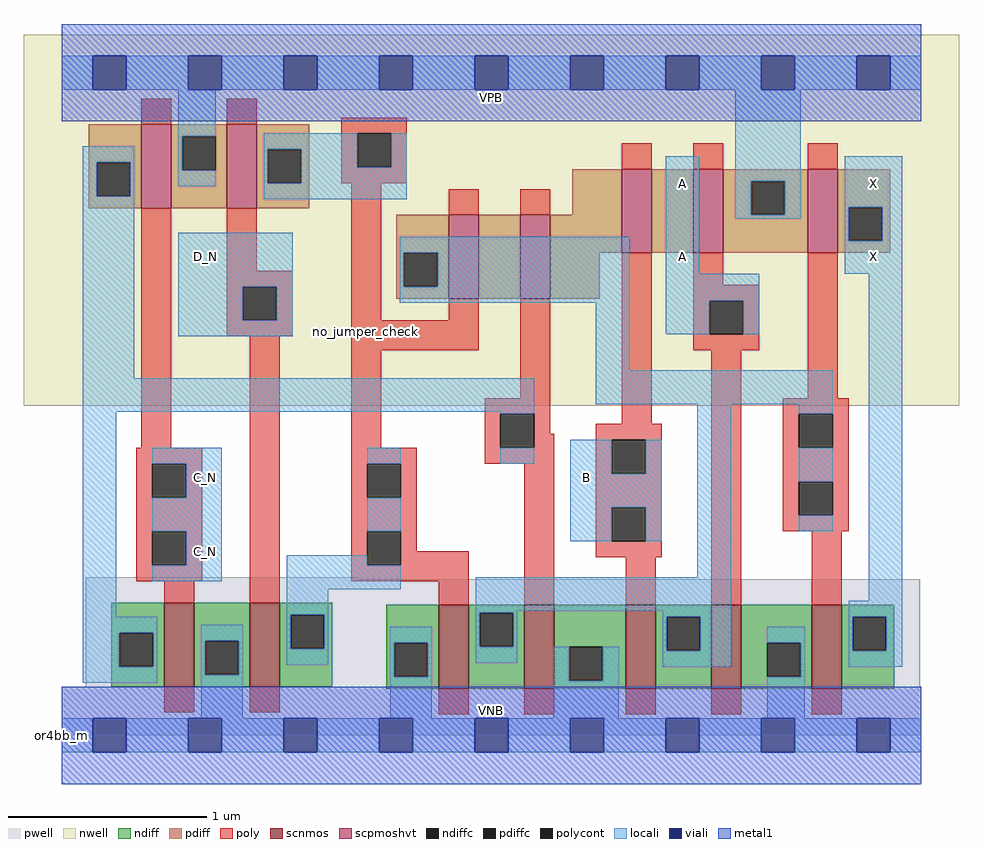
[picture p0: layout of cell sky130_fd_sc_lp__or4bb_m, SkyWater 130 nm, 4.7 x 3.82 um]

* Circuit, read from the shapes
.subckt sky130_fd_sc_lp__or4bb_m A B C_N D_N VGND VNB VPB VPWR X
XM1 VGND C_N n1 VNB sky130_fd_pr__nfet_01v8 w=0.42 l=0.15
XM2 n2 D_N VGND VNB sky130_fd_pr__nfet_01v8 w=0.42 l=0.15
XM3 n3 n2 VGND VNB sky130_fd_pr__nfet_01v8 w=0.42 l=0.15
XM4 VGND n1 n3 VNB sky130_fd_pr__nfet_01v8 w=0.42 l=0.15
XM5 n3 B VGND VNB sky130_fd_pr__nfet_01v8 w=0.42 l=0.15
XM6 VGND A n3 VNB sky130_fd_pr__nfet_01v8 w=0.42 l=0.15
XM7 X n3 VGND VNB sky130_fd_pr__nfet_01v8 w=0.42 l=0.15
XM8 VPWR C_N n1 VPB sky130_fd_pr__pfet_01v8_hvt w=0.42 l=0.15
XM9 n2 D_N VPWR VPB sky130_fd_pr__pfet_01v8_hvt w=0.42 l=0.15
XM10 n4 n2 n3 VPB sky130_fd_pr__pfet_01v8_hvt w=0.42 l=0.15
XM11 n5 n1 n4 VPB sky130_fd_pr__pfet_01v8_hvt w=0.42 l=0.15
XM12 n6 B n5 VPB sky130_fd_pr__pfet_01v8_hvt w=0.42 l=0.15
XM13 VPWR A n6 VPB sky130_fd_pr__pfet_01v8_hvt w=0.42 l=0.15
XM14 X n3 VPWR VPB sky130_fd_pr__pfet_01v8_hvt w=0.42 l=0.15
.ends

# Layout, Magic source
magic
tech sky130A
magscale 1 2
<< nwell >>
rect -38 331 902 704
<< pwell >>
rect 24 157 298 159
rect 24 49 863 157
rect 0 0 864 49
<< scnmos >>
rect 103 49 133 133
rect 189 49 219 133
rect 379 47 409 131
rect 465 47 495 131
rect 567 47 597 131
rect 653 47 683 131
rect 754 47 784 131
<< scpmoshvt >>
rect 80 530 110 614
rect 166 530 196 614
rect 389 439 419 523
rect 461 439 491 523
rect 563 485 593 569
rect 635 485 665 569
rect 750 485 780 569
<< ndiff >>
rect 50 103 103 133
rect 50 69 58 103
rect 92 69 103 103
rect 50 49 103 69
rect 133 95 189 133
rect 133 61 144 95
rect 178 61 189 95
rect 133 49 189 61
rect 219 121 272 133
rect 219 87 230 121
rect 264 87 272 121
rect 219 49 272 87
rect 326 93 379 131
rect 326 59 334 93
rect 368 59 379 93
rect 326 47 379 59
rect 409 123 465 131
rect 409 89 420 123
rect 454 89 465 123
rect 409 47 465 89
rect 495 89 567 131
rect 495 55 510 89
rect 544 55 567 89
rect 495 47 567 55
rect 597 119 653 131
rect 597 85 608 119
rect 642 85 653 119
rect 597 47 653 85
rect 683 93 754 131
rect 683 59 709 93
rect 743 59 754 93
rect 683 47 754 59
rect 784 119 837 131
rect 784 85 795 119
rect 829 85 837 119
rect 784 47 837 85
<< pdiff >>
rect 27 576 80 614
rect 27 542 35 576
rect 69 542 80 576
rect 27 530 80 542
rect 110 602 166 614
rect 110 568 121 602
rect 155 568 166 602
rect 110 530 166 568
rect 196 589 249 614
rect 196 555 207 589
rect 241 555 249 589
rect 196 530 249 555
rect 513 523 563 569
rect 336 485 389 523
rect 336 451 344 485
rect 378 451 389 485
rect 336 439 389 451
rect 419 439 461 523
rect 491 485 563 523
rect 593 485 635 569
rect 665 557 750 569
rect 665 523 693 557
rect 727 523 750 557
rect 665 485 750 523
rect 780 531 833 569
rect 780 497 791 531
rect 825 497 833 531
rect 780 485 833 497
rect 491 439 541 485
<< ndiffc >>
rect 58 69 92 103
rect 144 61 178 95
rect 230 87 264 121
rect 334 59 368 93
rect 420 89 454 123
rect 510 55 544 89
rect 608 85 642 119
rect 709 59 743 93
rect 795 85 829 119
<< pdiffc >>
rect 35 542 69 576
rect 121 568 155 602
rect 207 555 241 589
rect 344 451 378 485
rect 693 523 727 557
rect 791 497 825 531
<< poly >>
rect 80 614 110 640
rect 166 614 196 640
rect 281 605 347 621
rect 281 571 297 605
rect 331 571 347 605
rect 281 555 347 571
rect 563 569 593 595
rect 635 569 665 595
rect 750 569 780 595
rect 80 289 110 530
rect 166 467 196 530
rect 166 451 232 467
rect 166 417 182 451
rect 216 417 232 451
rect 166 401 232 417
rect 291 417 321 555
rect 389 523 419 549
rect 461 523 491 549
rect 389 417 419 439
rect 75 273 141 289
rect 75 239 91 273
rect 125 239 141 273
rect 75 205 141 239
rect 75 171 91 205
rect 125 171 141 205
rect 75 155 141 171
rect 103 133 133 155
rect 189 133 219 401
rect 291 387 419 417
rect 291 289 321 387
rect 461 339 491 439
rect 425 323 491 339
rect 425 289 441 323
rect 475 303 491 323
rect 563 313 593 485
rect 635 453 665 485
rect 635 437 701 453
rect 635 403 651 437
rect 685 403 701 437
rect 635 387 701 403
rect 475 289 495 303
rect 291 273 357 289
rect 425 273 495 289
rect 291 239 307 273
rect 341 239 357 273
rect 291 205 357 239
rect 291 171 307 205
rect 341 185 357 205
rect 341 171 409 185
rect 291 155 409 171
rect 379 131 409 155
rect 465 131 495 273
rect 537 297 603 313
rect 537 263 553 297
rect 587 263 603 297
rect 537 229 603 263
rect 537 195 553 229
rect 587 195 603 229
rect 537 179 603 195
rect 567 131 597 179
rect 653 131 683 387
rect 750 339 780 485
rect 725 323 791 339
rect 725 289 741 323
rect 775 289 791 323
rect 725 255 791 289
rect 725 221 741 255
rect 775 221 791 255
rect 725 205 791 221
rect 754 131 784 205
rect 103 23 133 49
rect 189 23 219 49
rect 379 21 409 47
rect 465 21 495 47
rect 567 21 597 47
rect 653 21 683 47
rect 754 21 784 47
<< polycont >>
rect 297 571 331 605
rect 182 417 216 451
rect 91 239 125 273
rect 91 171 125 205
rect 441 289 475 323
rect 651 403 685 437
rect 307 239 341 273
rect 307 171 341 205
rect 553 263 587 297
rect 553 195 587 229
rect 741 289 775 323
rect 741 221 775 255
<< locali >>
rect 0 649 31 683
rect 65 649 127 683
rect 161 649 223 683
rect 257 649 319 683
rect 353 649 415 683
rect 449 649 511 683
rect 545 649 607 683
rect 641 649 703 683
rect 737 649 799 683
rect 833 649 864 683
rect 117 602 155 649
rect 21 576 73 592
rect 21 542 35 576
rect 69 542 73 576
rect 117 568 121 602
rect 117 552 155 568
rect 203 589 297 605
rect 203 555 207 589
rect 241 571 297 589
rect 331 571 347 605
rect 241 555 347 571
rect 21 359 73 542
rect 203 539 347 555
rect 117 451 232 505
rect 117 417 182 451
rect 216 417 232 451
rect 340 485 571 501
rect 340 451 344 485
rect 378 451 571 485
rect 340 435 571 451
rect 117 401 232 417
rect 537 367 571 435
rect 607 464 641 582
rect 677 557 743 649
rect 677 523 693 557
rect 727 523 743 557
rect 677 519 743 523
rect 787 531 845 582
rect 787 497 791 531
rect 825 497 845 531
rect 787 464 845 497
rect 607 437 701 464
rect 607 403 651 437
rect 685 403 701 437
rect 21 325 475 359
rect 537 333 775 367
rect 21 119 55 325
rect 441 323 475 325
rect 91 273 161 289
rect 125 239 161 273
rect 91 205 161 239
rect 125 171 161 205
rect 307 273 341 289
rect 441 273 475 289
rect 307 205 341 239
rect 91 155 161 171
rect 226 171 307 181
rect 511 263 553 297
rect 587 263 603 297
rect 511 229 603 263
rect 511 195 553 229
rect 587 195 603 229
rect 226 147 341 171
rect 639 159 673 333
rect 741 323 775 333
rect 741 255 775 289
rect 741 205 775 221
rect 226 121 268 147
rect 21 103 96 119
rect 21 69 58 103
rect 92 69 96 103
rect 21 53 96 69
rect 140 95 182 111
rect 140 61 144 95
rect 178 61 182 95
rect 226 87 230 121
rect 264 87 268 121
rect 416 125 673 159
rect 811 135 845 464
rect 416 123 458 125
rect 226 71 268 87
rect 330 93 372 109
rect 140 17 182 61
rect 330 59 334 93
rect 368 59 372 93
rect 416 89 420 123
rect 454 89 458 123
rect 604 119 673 125
rect 416 73 458 89
rect 330 17 372 59
rect 494 55 510 89
rect 544 55 560 89
rect 604 85 608 119
rect 642 85 673 119
rect 791 119 845 135
rect 604 69 673 85
rect 709 93 747 109
rect 494 17 560 55
rect 743 59 747 93
rect 791 85 795 119
rect 829 85 845 119
rect 791 69 845 85
rect 709 17 747 59
rect 0 -17 31 17
rect 65 -17 127 17
rect 161 -17 223 17
rect 257 -17 319 17
rect 353 -17 415 17
rect 449 -17 511 17
rect 545 -17 607 17
rect 641 -17 703 17
rect 737 -17 799 17
rect 833 -17 864 17
<< viali >>
rect 31 649 65 683
rect 127 649 161 683
rect 223 649 257 683
rect 319 649 353 683
rect 415 649 449 683
rect 511 649 545 683
rect 607 649 641 683
rect 703 649 737 683
rect 799 649 833 683
rect 31 -17 65 17
rect 127 -17 161 17
rect 223 -17 257 17
rect 319 -17 353 17
rect 415 -17 449 17
rect 511 -17 545 17
rect 607 -17 641 17
rect 703 -17 737 17
rect 799 -17 833 17
<< metal1 >>
rect 0 683 864 715
rect 0 649 31 683
rect 65 649 127 683
rect 161 649 223 683
rect 257 649 319 683
rect 353 649 415 683
rect 449 649 511 683
rect 545 649 607 683
rect 641 649 703 683
rect 737 649 799 683
rect 833 649 864 683
rect 0 617 864 649
rect 0 17 864 49
rect 0 -17 31 17
rect 65 -17 127 17
rect 161 -17 223 17
rect 257 -17 319 17
rect 353 -17 415 17
rect 449 -17 511 17
rect 545 -17 607 17
rect 641 -17 703 17
rect 737 -17 799 17
rect 833 -17 864 17
rect 0 -49 864 -17
<< labels >>
flabel pwell s 0 0 864 49 0 FreeSans 200 0 0 0 VNB
port 6 nsew ground bidirectional
flabel nwell s 0 617 864 666 0 FreeSans 200 0 0 0 VPB
port 7 nsew power bidirectional
rlabel comment s 0 0 0 0 4 or4bb_m
flabel comment s 305 406 305 406 0 FreeSans 200 90 0 0 no_jumper_check
flabel metal1 s 0 617 864 666 0 FreeSans 340 0 0 0 VPWR
port 8 nsew power bidirectional
flabel metal1 s 0 0 864 49 0 FreeSans 340 0 0 0 VGND
port 5 nsew ground bidirectional
flabel locali s 511 242 545 276 0 FreeSans 340 0 0 0 B
port 2 nsew signal input
flabel locali s 127 168 161 202 0 FreeSans 340 0 0 0 C_N
port 3 nsew signal input
flabel locali s 127 242 161 276 0 FreeSans 340 0 0 0 C_N
port 3 nsew signal input
flabel locali s 127 464 161 498 0 FreeSans 340 0 0 0 D_N
port 4 nsew signal input
flabel locali s 607 464 641 498 0 FreeSans 340 0 0 0 A
port 1 nsew signal input
flabel locali s 607 538 641 572 0 FreeSans 340 0 0 0 A
port 1 nsew signal input
flabel locali s 799 464 833 498 0 FreeSans 340 0 0 0 X
port 9 nsew signal output
flabel locali s 799 538 833 572 0 FreeSans 340 0 0 0 X
port 9 nsew signal output
<< properties >>
string LEFsite unit
string LEFclass CORE
string FIXED_BBOX 0 0 864 666
string GDS_FILE $PDKPATH/libs.ref/sky130_fd_sc_lp/gds/sky130_fd_sc_lp.gds
string LEFsymmetry X Y R90
string GDS_END 6804974
string GDS_START 6796930
<< end >>
